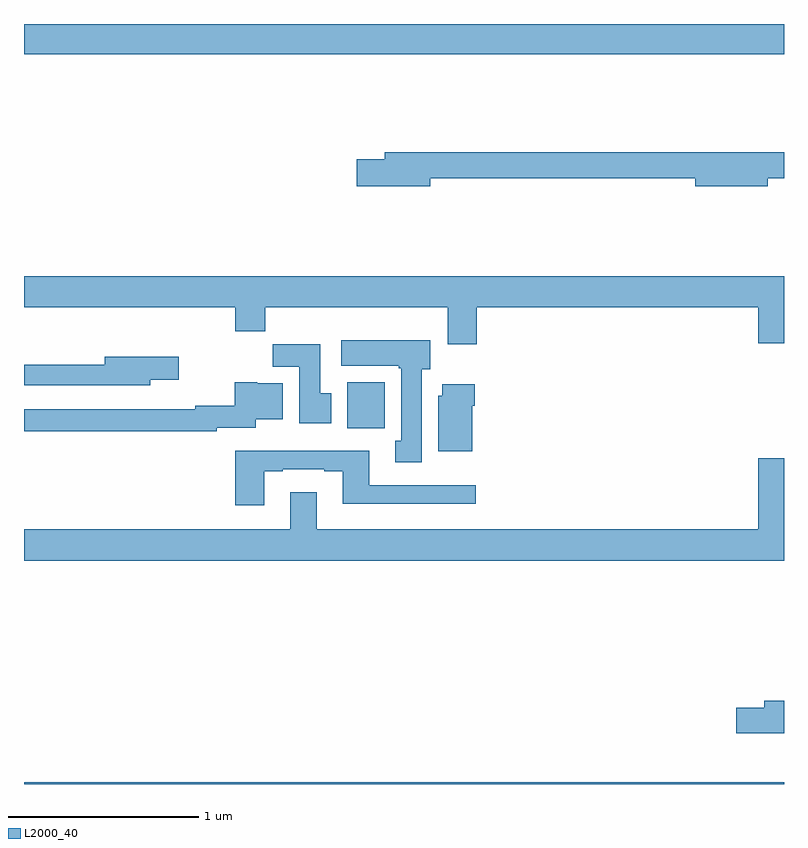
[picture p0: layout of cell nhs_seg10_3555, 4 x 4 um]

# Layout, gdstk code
import gdstk
lib = gdstk.Library(unit=1e-6, precision=1e-09)
def R(c, l, rs):  # rectangles x0, y0, x1, y1
    for r in rs: c.add(gdstk.rectangle(r[:2], r[2:], *l))
def P(c, l, *ps):  # polygons
    for p in ps: c.add(gdstk.Polygon(p, *l))
L2000_40 = (2000, 40)

nhs_seg10_3555 = lib.new_cell('nhs_seg10_3555')
R(nhs_seg10_3555, L2000_40, [(305,1272.5,309,1272.508), (306.701,1274.372,306.898,1274.614), (305,1276.34,309,1276.5)])
P(nhs_seg10_3555, L2000_40, [(307.138,1275.688),(308.534,1275.688),(308.534,1275.646),(308.914,1275.646),(308.914,1275.688),(309,1275.688),(309,1275.824),(306.899,1275.824),(306.899,1275.788),(306.75,1275.788),(306.75,1275.646),(307.138,1275.646)],
  [(307.382,1275.008),(308.864,1275.008),(308.864,1274.82),(309,1274.82),(309,1275.172),(305,1275.172),(305,1275.008),(306.113,1275.008),(306.113,1274.884),(306.269,1274.884),(306.269,1275.008),(307.229,1275.008),(307.229,1274.814),(307.382,1274.814)],
  [(307.093,1274.682),(307.138,1274.682),(307.138,1274.836),(306.669,1274.836),(306.669,1274.702),(306.973,1274.702),(306.973,1274.689),(306.986,1274.689),(306.986,1274.306),(306.953,1274.306),(306.953,1274.193),(307.093,1274.193)],
  [(306.616,1274.556),(306.559,1274.556),(306.559,1274.815),(306.31,1274.815),(306.31,1274.696),(306.449,1274.696),(306.449,1274.4),(306.616,1274.4)],
  [(305.665,1274.627),(305.815,1274.627),(305.815,1274.749),(305.426,1274.749),(305.426,1274.707),(305,1274.707),(305,1274.598),(305.665,1274.598)],
  [(306.014,1274.376),(306.22,1274.376),(306.22,1274.42),(306.361,1274.42),(306.361,1274.608),(306.228,1274.608),(306.228,1274.614),(306.11,1274.614),(306.11,1274.492),(305.902,1274.492),(305.902,1274.472),(305,1274.472),(305,1274.356),(306.014,1274.356)],
  [(307.36,1274.492),(307.373,1274.492),(307.373,1274.605),(307.202,1274.605),(307.202,1274.544),(307.181,1274.544),(307.181,1274.252),(307.36,1274.252)],
  [(306.265,1274.145),(306.361,1274.145),(306.361,1274.157),(306.581,1274.157),(306.581,1274.145),(306.677,1274.145),(306.677,1273.976),(307.378,1273.976),(307.378,1274.073),(306.817,1274.073),(306.817,1274.254),(306.113,1274.254),(306.113,1273.968),(306.265,1273.968)],
  [(309,1274.215),(308.864,1274.215),(308.864,1273.84),(306.541,1273.84),(306.541,1274.035),(306.401,1274.035),(306.401,1273.84),(305,1273.84),(305,1273.676),(309,1273.676)],
  [(309,1272.938),(308.897,1272.938),(308.897,1272.902),(308.748,1272.902),(308.748,1272.767),(309,1272.767)])

lib.write_gds('nhs_seg10_3555.gds')
